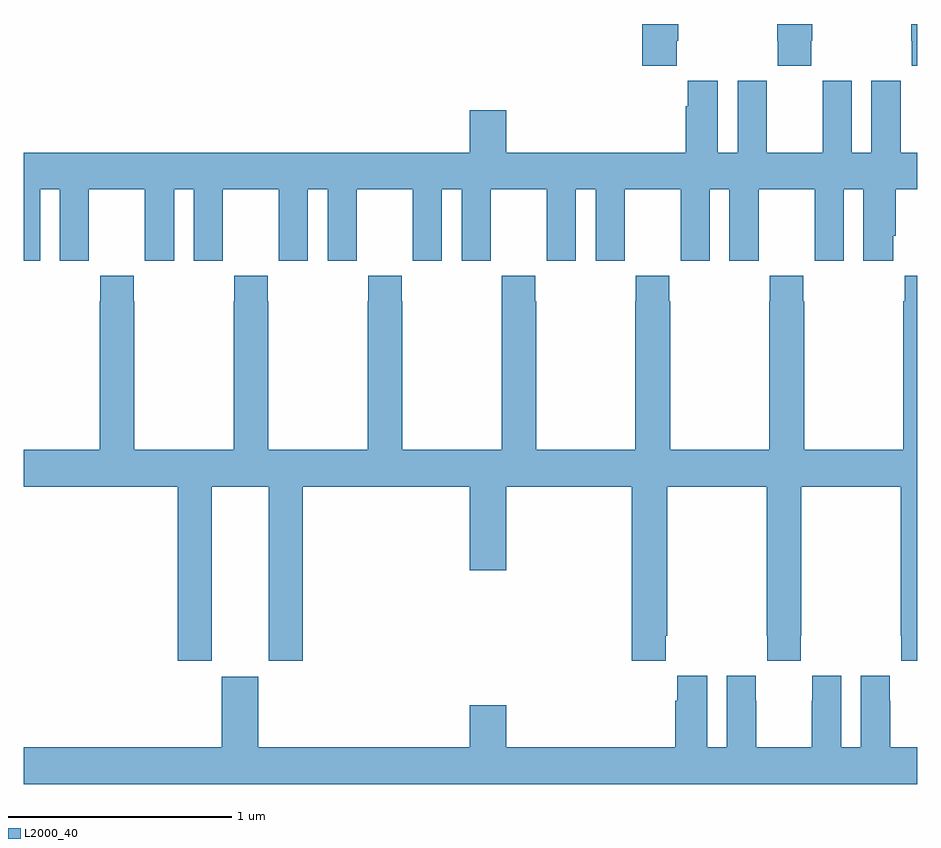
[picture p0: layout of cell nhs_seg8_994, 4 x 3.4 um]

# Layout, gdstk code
import gdstk
lib = gdstk.Library(unit=1e-6, precision=1e-09)
def P(c, l, *ps):  # polygons
    for p in ps: c.add(gdstk.Polygon(p, *l))
L2000_40 = (2000, 40)

nhs_seg8_994 = lib.new_cell('nhs_seg8_994')
P(nhs_seg8_994, L2000_40, [(179,1123.9),(178.975,1123.9),(178.975,1123.825),(178.977,1123.825),(178.977,1123.713),(179,1123.713)],
  [(178.527,1123.825),(178.53,1123.825),(178.53,1123.9),(178.375,1123.9),(178.375,1123.825),(178.377,1123.825),(178.377,1123.713),(178.527,1123.713)],
  [(177.923,1123.825),(177.93,1123.825),(177.93,1123.9),(177.77,1123.9),(177.77,1123.713),(177.923,1123.713)],
  [(175.072,1123.16),(175.16,1123.16),(175.16,1122.84),(175.29,1122.84),(175.29,1122.952),(175.291,1122.952),(175.291,1123.16),(175.541,1123.16),(175.541,1122.952),(175.542,1122.952),(175.542,1122.84),(175.672,1122.84),(175.672,1123.16),(175.76,1123.16),(175.76,1122.84),(175.89,1122.84),(175.89,1122.952),(175.891,1122.952),(175.891,1123.16),(176.141,1123.16),(176.141,1122.952),(176.142,1122.952),(176.142,1122.84),(176.272,1122.84),(176.272,1123.16),(176.36,1123.16),(176.36,1122.84),(176.49,1122.84),(176.49,1122.952),(176.491,1122.952),(176.491,1123.16),(176.741,1123.16),(176.741,1122.952),(176.742,1122.952),(176.742,1122.84),(176.872,1122.84),(176.872,1123.16),(176.96,1123.16),(176.96,1122.84),(177.09,1122.84),(177.09,1122.952),(177.091,1122.952),(177.091,1123.16),(177.341,1123.16),(177.341,1122.952),(177.342,1122.952),(177.342,1122.84),(177.472,1122.84),(177.472,1123.16),(177.56,1123.16),(177.56,1122.84),(177.69,1122.84),(177.69,1122.952),(177.691,1122.952),(177.691,1123.16),(177.941,1123.16),(177.941,1122.952),(177.942,1122.952),(177.942,1122.84),(178.072,1122.84),(178.072,1123.16),(178.16,1123.16),(178.16,1122.84),(178.29,1122.84),(178.29,1122.952),(178.291,1122.952),(178.291,1123.16),(178.541,1123.16),(178.541,1122.952),(178.542,1122.952),(178.542,1122.84),(178.672,1122.84),(178.672,1123.16),(178.76,1123.16),(178.76,1122.84),(178.894,1122.84),(178.894,1122.952),(178.904,1122.952),(178.904,1123.16),(179,1123.16),(179,1123.324),(178.927,1123.324),(178.927,1123.532),(178.926,1123.532),(178.926,1123.645),(178.796,1123.645),(178.796,1123.324),(178.708,1123.324),(178.708,1123.645),(178.578,1123.645),(178.578,1123.532),(178.577,1123.532),(178.577,1123.324),(178.327,1123.324),(178.327,1123.532),(178.326,1123.532),(178.326,1123.645),(178.196,1123.645),(178.196,1123.324),(178.108,1123.324),(178.108,1123.645),(177.974,1123.645),(177.974,1123.532),(177.965,1123.532),(177.965,1123.324),(177.16,1123.324),(177.16,1123.513),(176.996,1123.513),(176.996,1123.324),(175,1123.324),(175,1122.84),(175.072,1122.84)],
  [(175.688,1121.049),(175.84,1121.049),(175.84,1121.828),(176.096,1121.828),(176.096,1121.049),(176.249,1121.049),(176.249,1121.828),(176.996,1121.828),(176.996,1121.454),(177.16,1121.454),(177.16,1121.828),(177.722,1121.828),(177.722,1121.049),(177.875,1121.049),(177.875,1121.161),(177.882,1121.161),(177.882,1121.828),(178.327,1121.828),(178.327,1121.161),(178.329,1121.161),(178.329,1121.049),(178.479,1121.049),(178.479,1121.161),(178.482,1121.161),(178.482,1121.828),(178.927,1121.828),(178.927,1121.161),(178.929,1121.161),(178.929,1121.049),(179,1121.049),(179,1122.772),(178.945,1122.772),(178.945,1122.659),(178.939,1122.659),(178.939,1121.992),(178.494,1121.992),(178.494,1122.659),(178.491,1122.659),(178.491,1122.772),(178.341,1122.772),(178.341,1122.659),(178.339,1122.659),(178.339,1121.992),(177.894,1121.992),(177.894,1122.659),(177.891,1122.659),(177.891,1122.772),(177.741,1122.772),(177.741,1122.659),(177.739,1122.659),(177.739,1121.992),(177.294,1121.992),(177.294,1122.659),(177.291,1122.659),(177.291,1122.772),(177.141,1122.772),(177.141,1122.659),(177.139,1122.659),(177.139,1121.992),(176.694,1121.992),(176.694,1122.659),(176.691,1122.659),(176.691,1122.772),(176.541,1122.772),(176.541,1122.659),(176.539,1122.659),(176.539,1121.992),(176.094,1121.992),(176.094,1122.659),(176.091,1122.659),(176.091,1122.772),(175.941,1122.772),(175.941,1122.659),(175.939,1122.659),(175.939,1121.992),(175.494,1121.992),(175.494,1122.659),(175.491,1122.659),(175.491,1122.772),(175.341,1122.772),(175.341,1122.659),(175.339,1122.659),(175.339,1121.992),(175,1121.992),(175,1121.828),(175.688,1121.828)],
  [(179,1120.66),(178.879,1120.66),(178.879,1120.868),(178.878,1120.868),(178.878,1120.981),(178.748,1120.981),(178.748,1120.66),(178.66,1120.66),(178.66,1120.981),(178.53,1120.981),(178.53,1120.868),(178.529,1120.868),(178.529,1120.66),(178.279,1120.66),(178.279,1120.868),(178.278,1120.868),(178.278,1120.981),(178.148,1120.981),(178.148,1120.66),(178.06,1120.66),(178.06,1120.981),(177.926,1120.981),(177.926,1120.868),(177.917,1120.868),(177.917,1120.66),(177.16,1120.66),(177.16,1120.849),(176.996,1120.849),(176.996,1120.66),(176.05,1120.66),(176.05,1120.977),(175.886,1120.977),(175.886,1120.66),(175,1120.66),(175,1120.496),(179,1120.496)])

lib.write_gds('nhs_seg8_994.gds')
